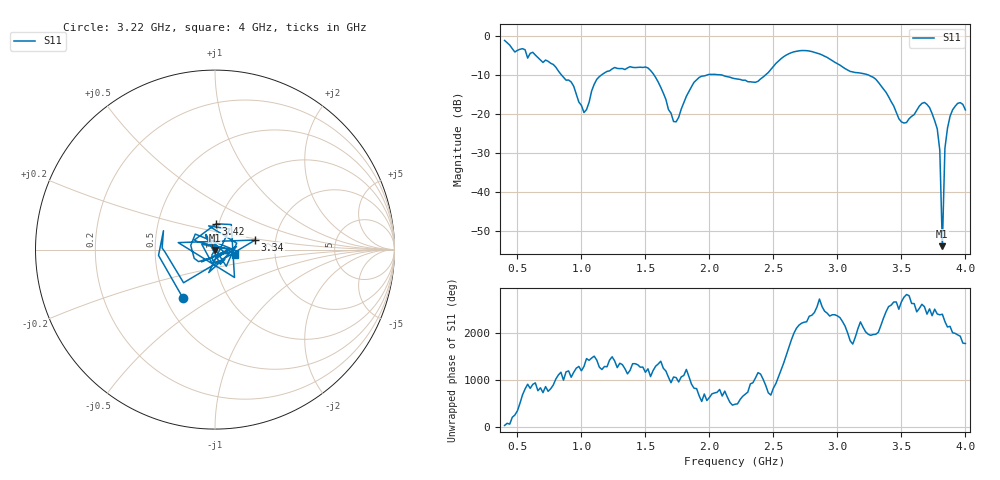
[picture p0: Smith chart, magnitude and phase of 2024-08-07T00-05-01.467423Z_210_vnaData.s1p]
!Created with skrf (http://scikit-rf.org).
# Hz S RI R 50.0
!freq ReS11 ImS11
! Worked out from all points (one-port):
!   181 points, 400 MHz to 4 GHz, reference 50 ohm
!   lowest |S11| = -53.8 dB at 3.82 GHz (marker M1), VSWR 1.00, Z = 49.9 - j0.196 ohm
!   |S11| at or under -10 dB: 1.567 GHz to 1.985 GHz (418.4 MHz wide, 23.6 % of centre); 2.091 GHz to 2.439 GHz (347.3 MHz wide, 15.3 % of centre); 3.24 GHz to end of sweep (the widest 3 of 4)
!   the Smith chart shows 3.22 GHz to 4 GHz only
!   S11 on the Smith chart (normalised r, x): 3.22 GHz: 0.61, -0.37; 3.34 GHz: 1.56, +0.18; 3.42 GHz: 0.97, +0.29; 4 GHz: 1.24, -0.07
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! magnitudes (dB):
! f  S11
! 400 MHz  -1.2
! 860 MHz  -10.6
! 940 MHz  -12.9
! 1.02 GHz  -19.6
! 1.12 GHz  -11.1
! 1.3 GHz  -8.4
! 1.52 GHz  -8.2
! 1.62 GHz  -13.2
! 1.72 GHz  -21.9
! 1.76 GHz  -20.9
! 1.92 GHz  -10.7
! 2.2 GHz  -11.0
! 2.38 GHz  -11.6
! 2.66 GHz  -4.1
! 3.1 GHz  -9.1
! 3.22 GHz  -9.8
! 3.34 GHz  -12.8
! 3.42 GHz  -16.8
! 3.5 GHz  -22.0
! 3.56 GHz  -21.2
! 3.68 GHz  -17.0
! 3.78 GHz  -23.8
! 3.8 GHz  -29.2
! 3.82 GHz  -53.8
! 3.84 GHz  -28.8
! 3.86 GHz  -23.6
! 3.94 GHz  -17.3
! 4 GHz  -18.9
